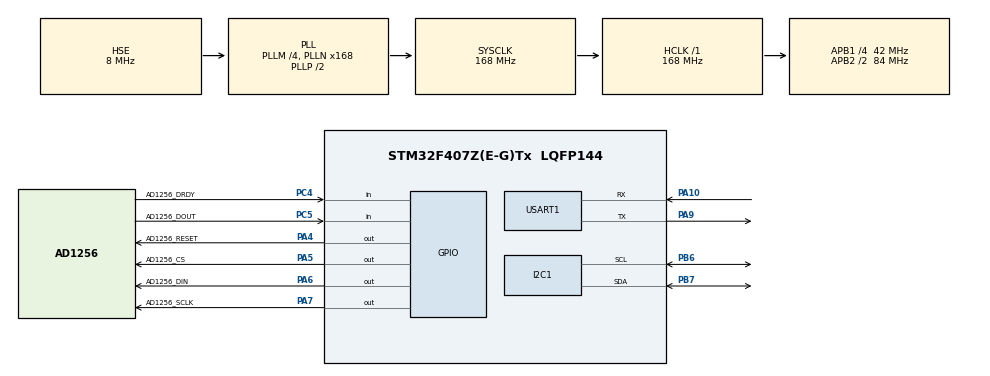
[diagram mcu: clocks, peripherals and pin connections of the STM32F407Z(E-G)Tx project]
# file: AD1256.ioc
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Mcu.Family=STM32F4
Mcu.Name=STM32F407Z(E-G)Tx
Mcu.Package=LQFP144
NVIC.PriorityGroup=NVIC_PRIORITYGROUP_4
PA10.Mode=Asynchronous
PA10.Signal=USART1_RX
PA13.Mode=Serial_Wire
PA13.Signal=SYS_JTMS-SWDIO
PA14.Mode=Serial_Wire
PA14.Signal=SYS_JTCK-SWCLK
PA4.GPIO_Label=AD1256_RESET
PA4.GPIO_PuPd=GPIO_PULLDOWN
PA4.GPIO_Speed=GPIO_SPEED_FREQ_LOW
PA4.Signal=GPIO_Output
PA5.GPIO_Label=AD1256_CS
PA5.GPIO_PuPd=GPIO_PULLDOWN
PA5.GPIO_Speed=GPIO_SPEED_FREQ_LOW
PA5.Signal=GPIO_Output
PA6.GPIO_Label=AD1256_DIN
PA6.GPIO_PuPd=GPIO_PULLDOWN
PA6.GPIO_Speed=GPIO_SPEED_FREQ_LOW
PA6.Signal=GPIO_Output
PA7.GPIO_Label=AD1256_SCLK
PA7.GPIO_PuPd=GPIO_PULLDOWN
PA7.GPIO_Speed=GPIO_SPEED_FREQ_LOW
PA7.Signal=GPIO_Output
PA9.Mode=Asynchronous
PA9.Signal=USART1_TX
PB6.GPIO_Pu=GPIO_PULLUP
PB6.Mode=I2C
PB6.Signal=I2C1_SCL
PB7.GPIO_Pu=GPIO_PULLUP
PB7.Mode=I2C
PB7.Signal=I2C1_SDA
PC4.GPIO_Label=AD1256_DRDY
PC4.Signal=GPIO_Input
PC5.GPIO_Label=AD1256_DOUT
PC5.Signal=GPIO_Input
PH0-OSC_IN.Mode=HSE-External-Oscillator
PH0-OSC_IN.Signal=RCC_OSC_IN
PH1-OSC_OUT.Mode=HSE-External-Oscillator
PH1-OSC_OUT.Signal=RCC_OSC_OUT
ProjectManager.HeapSize=0x200
ProjectManager.StackSize=0x400
ProjectManager.TargetToolchain=MDK-ARM V5.32
RCC.48MHZClocksFreq_Value=84000000
RCC.AHBFreq_Value=168000000
RCC.APB1CLKDivider=RCC_HCLK_DIV4
RCC.APB1Freq_Value=42000000
RCC.APB1TimFreq_Value=84000000
RCC.APB2CLKDivider=RCC_HCLK_DIV2
RCC.APB2Freq_Value=84000000
RCC.APB2TimFreq_Value=168000000
RCC.CortexFreq_Value=168000000
RCC.HCLKFreq_Value=168000000
RCC.HSE_VALUE=8000000
RCC.HSI_VALUE=16000000
RCC.LSE_VALUE=32768
RCC.PLLM=4
RCC.PLLN=168
RCC.PLLSourceVirtual=RCC_PLLSOURCE_HSE
RCC.SYSCLKFreq_VALUE=168000000
RCC.SYSCLKSource=RCC_SYSCLKSOURCE_PLLCLK
RCC.VCOOutputFreq_Value=336000000
USART1.VirtualMode=VM_ASYNC
board=custom

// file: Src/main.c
/* USER CODE BEGIN Header */
/**
  ******************************************************************************
  * @file           : main.c
  * @brief          : Main program body
  ******************************************************************************
  * @attention
  *
  * Copyright (c) 2022 STMicroelectronics.
  * All rights reserved.
  *
  * This software is licensed under terms that can be found in the LICENSE file
  * in the root directory of this software component.
  * If no LICENSE file comes with this software, it is provided AS-IS.
  *
  ******************************************************************************
  */
/* USER CODE END Header */
#include "main.h"
#include "i2c.h"
#include "usart.h"
#include "gpio.h"

/* USER CODE BEGIN Includes */
#include "board_ads1256.h"
#include "ssd1306.h"
#include "ssd1306_tests.h"
/* USER CODE END Includes */

void SystemClock_Config(void);

int main(void)
{
  /* USER CODE BEGIN 1 */
	uint32_t volt;
	uint8_t id;
	char str[20];
  /* USER CODE END 1 */

  /* MCU Configuration--------------------------------------------------------*/

  /* Reset of all peripherals, Initializes the Flash interface and the Systick. */
  HAL_Init();

  /* Configure the system clock */
  SystemClock_Config();

  /* Initialize all configured peripherals */
  MX_GPIO_Init();
  MX_USART1_UART_Init();
  MX_I2C1_Init();
  /* USER CODE BEGIN 2 */
	ssd1306_Init();
	ADS1256_Init();

  /* USER CODE END 2 */

  /* Infinite loop */
  while(1)
  {

    /* USER CODE BEGIN 3 */
		volt= ADS1256_GetAdc();

		sprintf(str,"volt = %.2f\n",volt);

		ssd1306_WriteString(str, Font_6x8 ,White);

		HAL_Delay(500);
  }
  /* USER CODE END 3 */
}

void SystemClock_Config(void)
{
  RCC_OscInitTypeDef RCC_OscInitStruct = {0};
  RCC_ClkInitTypeDef RCC_ClkInitStruct = {0};

  /** Configure the main internal regulator output voltage
  */
  __HAL_RCC_PWR_CLK_ENABLE();
  __HAL_PWR_VOLTAGESCALING_CONFIG(PWR_REGULATOR_VOLTAGE_SCALE1);
  /** Initializes the RCC Oscillators according to the specified parameters
  * in the RCC_OscInitTypeDef structure.
  */
  RCC_OscInitStruct.OscillatorType = RCC_OSCILLATORTYPE_HSE;
  RCC_OscInitStruct.HSEState = RCC_HSE_ON;
  RCC_OscInitStruct.PLL.PLLState = RCC_PLL_ON;
  RCC_OscInitStruct.PLL.PLLSource = RCC_PLLSOURCE_HSE;
  RCC_OscInitStruct.PLL.PLLM = 4;
  RCC_OscInitStruct.PLL.PLLN = 168;
  RCC_OscInitStruct.PLL.PLLP = RCC_PLLP_DIV2;
  RCC_OscInitStruct.PLL.PLLQ = 4;
  if (HAL_RCC_OscConfig(&RCC_OscInitStruct) != HAL_OK)
  {
    Error_Handler();
  }
  /** Initializes the CPU, AHB and APB buses clocks
  */
  RCC_ClkInitStruct.ClockType = RCC_CLOCKTYPE_HCLK|RCC_CLOCKTYPE_SYSCLK
                              |RCC_CLOCKTYPE_PCLK1|RCC_CLOCKTYPE_PCLK2;
  RCC_ClkInitStruct.SYSCLKSource = RCC_SYSCLKSOURCE_PLLCLK;
  RCC_ClkInitStruct.AHBCLKDivider = RCC_SYSCLK_DIV1;
  RCC_ClkInitStruct.APB1CLKDivider = RCC_HCLK_DIV4;
  RCC_ClkInitStruct.APB2CLKDivider = RCC_HCLK_DIV2;

  if (HAL_RCC_ClockConfig(&RCC_ClkInitStruct, FLASH_LATENCY_5) != HAL_OK)
  {
    Error_Handler();
  }
}

/* USER CODE BEGIN 4 */
void delay_us(uint32_t udelay)
{
  uint32_t startval,tickn,delays,wait;

  startval = SysTick->VAL;
  tickn = HAL_GetTick();
  delays =udelay * 168; //sysc / 1000 * udelay;
  if(delays > startval)
    {
      while(HAL_GetTick() == tickn)
        {

        }
      wait = 168000 + startval - delays;
      while(wait < SysTick->VAL)
        {

        }
    }
  else
    {
      wait = startval - delays;
      while(wait < SysTick->VAL && HAL_GetTick() == tickn)
        {

        }
    }
}
/* USER CODE END 4 */

void Error_Handler(void)
{
  __disable_irq();
  while (1)
  {
  }
}
